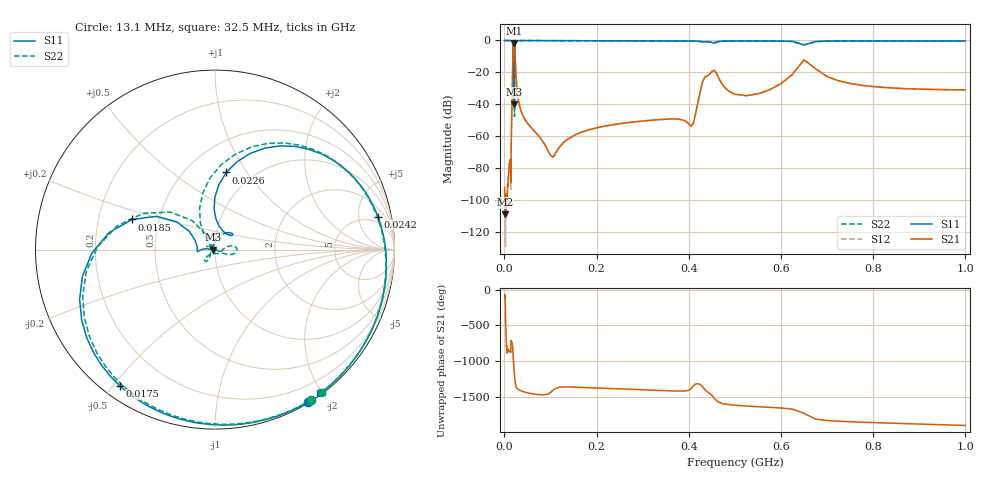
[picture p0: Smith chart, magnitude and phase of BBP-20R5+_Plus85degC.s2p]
! Mini-Circuits
! S2P DATA File Format
! Type: BAND PASS FILTER
! Model: BBP-20R5+
! All S Parameters are in dB deg format
! TEST CONDITIONS: INPUT POWER = 0 dBm @ Temperature = +85deg C
# MHz S dB R 50
!Frequency  S11 dB  S11 DEG  S21 dB  S21 DEG  S12 dB  S12 DEG  S22 dB  S22 DEG
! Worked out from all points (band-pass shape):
!   421 points, 500 kHz to 1 GHz, reference 50 ohm
!   highest |S21| = -1.51 dB at 20.8 MHz (marker M1); lowest = -108.9 dB at 1.5 MHz (marker M2)
!   |S21| within 3 dB of the highest: 18.58 MHz to 22.8 MHz (4.222 MHz wide, 20.4 % of centre)
!   lowest |S11| = -40.1 dB at 20.4 MHz (marker M3), VSWR 1.02, Z = 49 - j0.00198 ohm
!   |S11| at or under -10 dB: 18.65 MHz to 22.44 MHz (3.789 MHz wide, 18.4 % of centre)
!   |S22| runs from -47.7 to 0.0 dB; largest |S21 - S12| = 0.00082
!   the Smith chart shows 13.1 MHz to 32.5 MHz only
!   S11 on the Smith chart (normalised r, x): 13.1 MHz: 0.01, -1.79; 17.5 MHz: 0.05, -0.52; 18.5 MHz: 0.35, +0.16; 22.6 MHz: 0.76, +0.81; 24.2 MHz: 3.36, +8.67; 32.5 MHz: 0.02, -1.97
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0.5  0.00 -1.9  -92.09 -114.8  -99.75 -71.1  0.00 -1.8
1.5  0.01 -5.6  -108.89 -143.3  -97.14 113.1  0.00 -5.5
2  0.00 -7.5  -108.22 145.0  -126.33 -98.3  0.00 -7.4
6.5  0.00 -25.1  -97.26 -125.0  -94.17 -130.0  -0.00 -24.6
13.1  -0.04 -58.5  -75.01 -150.2  -75.13 -147.6  -0.05 -57.3
14.2  -0.07 -67.1  -85.27 -21.3  -85.56 -23.9  -0.09 -65.8
17.5  -0.67 -124.9  -23.62 -48.4  -23.64 -48.4  -0.76 -123.9
18.5  -6.18 160.0  -5.38 -141.1  -5.39 -141.1  -6.97 153.2
19.4  -21.44 -177.6  -1.91 100.3  -1.91 100.3  -21.97 -135.6
20.4  -40.05 -179.9  -1.53 12.4  -1.54 12.4  -29.22 -22.5
20.8  -25.37 84.2  -1.51 -18.6  -1.51 -18.5  -23.72 12.6
22  -19.03 65.9  -1.75 -110.0  -1.76 -110.0  -47.68 7.9
22.4  -10.71 90.2  -2.47 -145.1  -2.48 -145.1  -12.16 110.3
22.6  -7.24 81.7  -3.31 -163.2  -3.32 -163.2  -7.94 93.8
24.2  -0.67 11.5  -15.57 109.8  -15.57 109.8  -0.74 12.8
32.5  -0.07 -53.9  -40.41 38.4  -40.40 38.5  -0.07 -53.2
80  -0.09 -131.6  -61.93 -29.1  -62.09 -29.2  -0.08 -129.6
285  -0.25 139.4  -50.90 43.6  -50.89 43.5  -0.21 145.6
400  -0.33 109.0  -52.26 35.2  -52.27 35.0  -0.30 117.1
450  -1.27 96.0  -19.47 -35.2  -19.47 -35.2  -1.05 106.4
500  -0.32 88.9  -33.65 -174.2  -33.66 -174.2  -0.29 98.5
1000  -0.29 -12.9  -30.93 -96.7  -30.94 -96.7  -0.30 5.2
